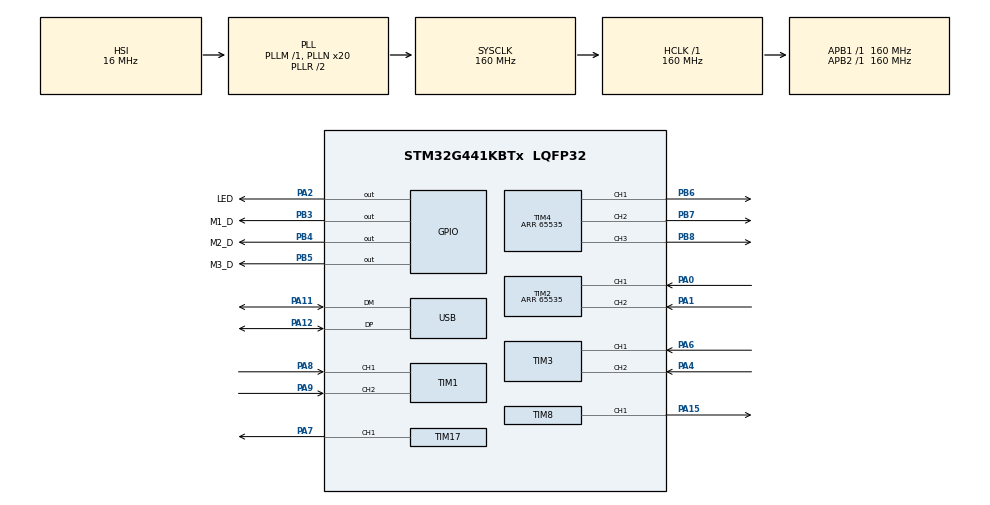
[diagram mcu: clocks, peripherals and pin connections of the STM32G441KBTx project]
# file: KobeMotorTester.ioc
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Dma.DMA_GENERATOR0.0.Direction=DMA_MEMORY_TO_PERIPH
Dma.DMA_GENERATOR0.0.EventEnable=DISABLE
Dma.DMA_GENERATOR0.0.Instance=DMA1_Channel1
Dma.DMA_GENERATOR0.0.MemDataAlignment=DMA_MDATAALIGN_WORD
Dma.DMA_GENERATOR0.0.MemInc=DMA_MINC_ENABLE
Dma.DMA_GENERATOR0.0.Mode=DMA_NORMAL
Dma.DMA_GENERATOR0.0.PeriphDataAlignment=DMA_PDATAALIGN_WORD
Dma.DMA_GENERATOR0.0.PeriphInc=DMA_PINC_DISABLE
Dma.DMA_GENERATOR0.0.Polarity=HAL_DMAMUX_REQ_GEN_RISING
Dma.DMA_GENERATOR0.0.Priority=DMA_PRIORITY_HIGH
Dma.DMA_GENERATOR0.0.RequestNumber=1
Dma.DMA_GENERATOR0.0.SignalID=NONE
Dma.DMA_GENERATOR0.0.SyncEnable=DISABLE
Dma.DMA_GENERATOR0.0.SyncPolarity=HAL_DMAMUX_SYNC_NO_EVENT
Dma.DMA_GENERATOR0.0.SyncRequestNumber=1
Dma.DMA_GENERATOR0.0.SyncSignalID=NONE
Dma.Request0=DMA_GENERATOR0
Mcu.Family=STM32G4
Mcu.Name=STM32G441KBTx
Mcu.Package=LQFP32
NVIC.PriorityGroup=NVIC_PRIORITYGROUP_4
NVIC.TIM4_IRQn=true\:0\:0\:false\:false\:true\:true\:true
NVIC.TIM6_DAC_IRQn=true\:0\:0\:false\:false\:true\:true\:true
NVIC.USB_LP_IRQn=true\:0\:0\:false\:false\:true\:false\:true
PA0.Signal=S_TIM2_CH1
PA1.Signal=S_TIM2_CH2
PA11.Mode=Device
PA11.Signal=USB_DM
PA12.Mode=Device
PA12.Signal=USB_DP
PA13.Mode=Serial_Wire
PA13.Signal=SYS_JTMS-SWDIO
PA14.Mode=Serial_Wire
PA14.Signal=SYS_JTCK-SWCLK
PA15.Signal=S_TIM8_CH1
PA2.GPIO_Label=LED
PA2.Signal=GPIO_Output
PA4.Signal=S_TIM3_CH2
PA6.Signal=S_TIM3_CH1
PA7.Signal=S_TIM17_CH1
PA8.Signal=S_TIM1_CH1
PA9.Signal=S_TIM1_CH2
PB3.GPIO_Label=M1_D
PB3.Signal=GPIO_Output
PB4.GPIO_Label=M2_D
PB4.Signal=GPIO_Output
PB5.GPIO_Label=M3_D
PB5.Signal=GPIO_Output
PB6.Signal=S_TIM4_CH1
PB7.Signal=S_TIM4_CH2
PB8-BOOT0.Signal=S_TIM4_CH3
ProjectManager.HeapSize=0x200
ProjectManager.StackSize=0x400
ProjectManager.TargetToolchain=STM32CubeIDE
RCC.ADC12Freq_Value=160000000
RCC.AHBFreq_Value=160000000
RCC.APB1Freq_Value=160000000
RCC.APB1TimFreq_Value=160000000
RCC.APB2Freq_Value=160000000
RCC.APB2TimFreq_Value=160000000
RCC.CK48CLockSelection=RCC_USBCLKSOURCE_HSI48
RCC.CortexFreq_Value=160000000
RCC.EXTERNAL_CLOCK_VALUE=12288000
RCC.HCLKFreq_Value=160000000
RCC.HSE_VALUE=8000000
RCC.HSI48_VALUE=48000000
RCC.HSI_VALUE=16000000
RCC.LSE_VALUE=32768
RCC.PLLN=20
RCC.PLLQ=RCC_PLLQ_DIV4
RCC.SYSCLKFreq_VALUE=160000000
RCC.SYSCLKSource=RCC_SYSCLKSOURCE_PLLCLK
RCC.USBFreq_Value=48000000
RCC.VCOOutputFreq_Value=320000000
SH.S_TIM17_CH1.0=TIM17_CH1,PWM Generation1 CH1
SH.S_TIM1_CH1.0=TIM1_CH1,Encoder_Interface
SH.S_TIM1_CH2.0=TIM1_CH2,Encoder_Interface
SH.S_TIM2_CH1.0=TIM2_CH1,Encoder_Interface
SH.S_TIM2_CH2.0=TIM2_CH2,Encoder_Interface
SH.S_TIM3_CH1.0=TIM3_CH1,Encoder_Interface
SH.S_TIM3_CH2.0=TIM3_CH2,Encoder_Interface
SH.S_TIM4_CH1.0=TIM4_CH1,PWM Generation1 CH1
SH.S_TIM4_CH2.0=TIM4_CH2,PWM Generation2 CH2
SH.S_TIM4_CH3.0=TIM4_CH3,PWM Generation3 CH3
SH.S_TIM8_CH1.0=TIM8_CH1,PWM Generation1 CH1
TIM1.EncoderMode=TIM_ENCODERMODE_TI12
TIM17.Channel=TIM_CHANNEL_1
TIM2.EncoderMode=TIM_ENCODERMODE_TI12
TIM2.PeriodNoDither=65535
TIM3.EncoderMode=TIM_ENCODERMODE_TI12
TIM4.AutoReloadPreload=TIM_AUTORELOAD_PRELOAD_DISABLE
TIM4.Channel-PWM\ Generation1\ CH1=TIM_CHANNEL_1
TIM4.Channel-PWM\ Generation2\ CH2=TIM_CHANNEL_2
TIM4.Channel-PWM\ Generation3\ CH3=TIM_CHANNEL_3
TIM4.PeriodNoDither=65535
TIM6.PeriodNoDither=999
TIM6.Prescaler=1599
TIM8.Channel-PWM\ Generation1\ CH1=TIM_CHANNEL_1
TIM8.PeriodNoDither=39999
TIM8.Prescaler=79
USB_DEVICE.CLASS_NAME_FS=CDC
USB_DEVICE.VirtualMode=Cdc
USB_DEVICE.VirtualModeFS=Cdc_FS
VP_SYS_VS_DBSignals.Mode=DisableDeadBatterySignals
VP_TIM17_VS_ClockSourceINT.Mode=Enable_Timer
VP_TIM6_VS_ClockSourceINT.Mode=Enable_Timer
VP_USB_DEVICE_VS_USB_DEVICE_CDC_FS.Mode=CDC_FS
board=custom

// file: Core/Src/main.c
/* USER CODE BEGIN Header */
/**
  ******************************************************************************
  * @file           : main.c
  * @brief          : Main program body
  ******************************************************************************
  * @attention
  *
  * <h2><center>&copy; Copyright (c) 2021 STMicroelectronics.
  * All rights reserved.</center></h2>
  *
  * This software component is licensed by ST under BSD 3-Clause license,
  * the "License"; You may not use this file except in compliance with the
  * License. You may obtain a copy of the License at:
  *                        opensource.org/licenses/BSD-3-Clause
  *
  ******************************************************************************
  */
/* USER CODE END Header */
#include "main.h"
#include "usb_device.h"

/* USER CODE BEGIN Includes */

#include "usbd_cdc_if.h"

/* USER CODE END Includes */

TIM_HandleTypeDef htim1;
TIM_HandleTypeDef htim2;
TIM_HandleTypeDef htim3;
TIM_HandleTypeDef htim4;
TIM_HandleTypeDef htim6;
TIM_HandleTypeDef htim8;
TIM_HandleTypeDef htim17;

DMA_HandleTypeDef hdma_dma_generator0;

void SystemClock_Config(void);
static void MX_GPIO_Init(void);
static void MX_DMA_Init(void);
static void MX_TIM2_Init(void);
static void MX_TIM3_Init(void);
static void MX_TIM1_Init(void);
static void MX_TIM4_Init(void);
static void MX_TIM8_Init(void);
static void MX_TIM6_Init(void);
static void MX_TIM17_Init(void);

/* USER CODE BEGIN 0 */

typedef struct Command { // (1)
  int16_t speed1;
  int16_t speed2;
  int16_t speed3;
  uint16_t throwerSpeed;
  uint16_t delimiter; // (2)
} Command;

typedef struct Feedback { // (3)
  int16_t speed1;
  int16_t speed2;
  int16_t speed3;
  uint16_t delimiter;
} Feedback;

typedef struct Encoder { // (3)
  int16_t speed1;
  int16_t speed2;
  int16_t speed3;
  uint16_t m1_pwm;
  uint16_t m2_pwm;
  uint16_t delimiter;
} Encoder;

typedef struct MotorControl {
	int16_t speed;
	int16_t position;
	int32_t integraal;
	int16_t p_gain;
	int16_t i_gain;
	int32_t newspeed;
	int16_t positionChange;
} MotorControl;

MotorControl motor1Control = {
	  .speed = 0,
	  .position = 0,
	  .integraal = 0,
	  .p_gain = 3000,
	  .i_gain = 675,
	  .newspeed = 0,
	  .positionChange = 0
};

MotorControl motor2Control = {
	  .speed = 0,
	  .position = 0,
	  .integraal = 0,
	  .p_gain = 3000,
	  .i_gain = 675,
	  .newspeed = 0,
	  .positionChange = 0
};

MotorControl motor3Control = {
	  .speed = 0,
	  .position = 0,
	  .integraal = 0,
	  .p_gain = 3000,
	  .i_gain = 675,
	  .newspeed = 0,
	  .positionChange = 0
};

Command command = {.speed1 = 0, .speed2 = 0, .speed3 = 0, .throwerSpeed = 0, .delimiter = 0}; // (4)
volatile uint8_t isCommandReceived = 0; // (5)
volatile uint8_t sendData = 0;
uint16_t timer = 0;
uint16_t enable_pid = 0;
Feedback feedback = { // (1)
	      .speed1 = 0,
	      .speed2 = 0,
	      .speed3 = 0,
	      .delimiter = 0xAAAA
	  };;
Encoder encoder = {
		.speed1 = 0,
		.speed2 = 0,
		.speed3 = 0,
		.delimiter = 0xAAAA

};

int32_t clamp(int32_t value, int32_t minValue, int32_t maxValue) {
	if (value > maxValue) {
		return maxValue;
	}

	if (value < minValue) {
		return minValue;
	}

	return value;
}

void CDC_On_Receive(uint8_t* buffer, uint32_t* length) { // (6)
  if (*length == sizeof(Command)) { // (7)
    memcpy(&command, buffer, sizeof(Command)); // (8)

    if (command.delimiter == 0xAAAA) { // (9)
      isCommandReceived = 1;
    }
    if (command.delimiter == 0xBBBB) { // (9)
          sendData = 1;
        }
  }
}

int32_t PIDcontrol(MotorControl* control, int16_t position){
	control->positionChange = position - control->position; //Lahutab vana positsiooni, et saada kiiruse
	control->position = position; //Salvestab asendi struktuuri
	int32_t error = control->speed -control->positionChange; //Kui suur on erinevus kiiruste vahel
	control->integraal += error;

	return control->p_gain * error + control->i_gain * control->integraal;
}

void HAL_TIM_PeriodElapsedCallback(TIM_HandleTypeDef *htim6) {
  // Motor control calculations can be called from here
	if (enable_pid == 1){

		int16_t position;

		/*int16_t position = (int16_t)TIM1->CNT;//Uus positsioon
		int16_t new_speed = PIDcontrol(&motor1Control, position);

		if (new_speed < 0){
				motor1Control.newspeed = -new_speed;
				HAL_GPIO_WritePin(M1_D_GPIO_Port, M1_D_Pin, 0);
			}
			else{
				motor1Control.newspeed = new_speed;
				HAL_GPIO_WritePin(M1_D_GPIO_Port, M1_D_Pin, 1);
			}

		TIM4->CCR1 = motor1Control.newspeed;*/
		position = (int16_t)TIM1->CNT;
		int32_t pwmValue = PIDcontrol(&motor1Control, position);
		HAL_GPIO_WritePin(M1_D_GPIO_Port, M1_D_Pin, (pwmValue < 0) ? GPIO_PIN_SET : GPIO_PIN_RESET);
		TIM4->CCR1 = (uint16_t)clamp((pwmValue < 0) ? -pwmValue : pwmValue, 0, 65535);
		//HAL_GPIO_WritePin(M1_D_GPIO_Port, M1_D_Pin, GPIO_PIN_SET);
		//TIM4->CCR1 = TIM4->CCR1 > 65500 ? 0 : TIM4->CCR1 + 100;

		encoder.m1_pwm = (uint16_t)clamp((pwmValue < 0) ? -pwmValue : pwmValue, 0, 65535);

		position = (int16_t)TIM2->CNT;
		pwmValue = PIDcontrol(&motor2Control, position);
		HAL_GPIO_WritePin(M2_D_GPIO_Port, M2_D_Pin, (pwmValue < 0) ? GPIO_PIN_SET : GPIO_PIN_RESET);
		TIM4->CCR2 = (uint16_t)clamp((pwmValue < 0) ? -pwmValue : pwmValue, 0, 65535);

		encoder.m2_pwm = (uint16_t)clamp((pwmValue < 0) ? -pwmValue : pwmValue, 0, 65535);
		position = (int16_t)TIM3->CNT;
		pwmValue = PIDcontrol(&motor3Control, position);
		HAL_GPIO_WritePin(M3_D_GPIO_Port, M3_D_Pin, (pwmValue < 0) ? GPIO_PIN_SET : GPIO_PIN_RESET);
		TIM4->CCR3 = (uint16_t)clamp((pwmValue < 0) ? -pwmValue : pwmValue, 0, 65535);

		//feedback.speed2 = motor2Control.positionChange;

		//CDC_Transmit_FS(&feedback, sizeof(feedback));
		//HAL_GPIO_TogglePin(LED_GPIO_Port, LED_Pin); // (3)
		/*position = (int16_t)TIM3->CNT;
		new_speed = PIDcontrol(&motor3Control, position);

		if (new_speed < 0){
						motor3Control.newspeed = -new_speed;
						HAL_GPIO_WritePin(M2_D_GPIO_Port, M2_D_Pin, 0);
					}
					else{
						motor3Control.newspeed = new_speed;
						HAL_GPIO_WritePin(M3_D_GPIO_Port, M3_D_Pin, 1);
					}

		TIM4->CCR3 = motor3Control.newspeed;*/

		timer+=1;
		if (timer == 50){
			timer = 0;
			enable_pid = 0;

			motor1Control.speed = 0;
			motor2Control.speed = 0;
			motor3Control.speed = 0;
			TIM8->CCR1 = 1800;

			/*encoder.speed1 = motor1Control.positionChange;
			encoder.speed2 = motor2Control.positionChange;
			encoder.speed3 = motor3Control.positionChange;
			//encoder.m1_pwm = motor1Control.

			CDC_Transmit_FS(&encoder, sizeof(encoder));*/

			//CDC_Transmit_FS(&pwmValue, 4);
			/*
			TIM4->CCR1 = motor1Control.speed;
			TIM4->CCR2 = motor2Control.speed;
			TIM4->CCR3 = motor3Control.speed;
			TIM8->CCR1 = 1800;
			timer=0;*/

		}

	}

}

/*

/* USER CODE END 0 */

int main(void)
{

  /* MCU Configuration--------------------------------------------------------*/

  /* Reset of all peripherals, Initializes the Flash interface and the Systick. */
  HAL_Init();

  /* Configure the system clock */
  SystemClock_Config();

  /* Initialize all configured peripherals */
  MX_GPIO_Init();
  MX_DMA_Init();
  MX_TIM2_Init();
  MX_TIM3_Init();
  MX_TIM1_Init();
  MX_TIM4_Init();
  MX_TIM8_Init();
  MX_TIM6_Init();
  MX_USB_Device_Init();
  MX_TIM17_Init();
  /* USER CODE BEGIN 2 */

  //HAL_GPIO_WritePin(DRIVER_GPIO_Port, DRIVER_Pin, 1);
  //HAL_GPIO_WritePin(DRIVER_GPIO_Port, DRIVER_Pin, 0);
  //HAL_GPIO_WritePin(DRIVER_GPIO_Port, DRIVER_Pin, 1);
  //HAL_GPIO_WritePin(DRIVER_GPIO_Port, DRIVER_Pin, 0);
  //HAL_GPIO_WritePin(DRIVER_GPIO_Port, DRIVER_Pin, 1);

  HAL_TIM_PWM_Start(&htim17, TIM_CHANNEL_1);
  HAL_TIM_Encoder_Start(&htim1, TIM_CHANNEL_1 | TIM_CHANNEL_2);
  HAL_TIM_Encoder_Start(&htim2, TIM_CHANNEL_1 | TIM_CHANNEL_2);
  HAL_TIM_Encoder_Start(&htim3, TIM_CHANNEL_1 | TIM_CHANNEL_2);
  HAL_TIM_PWM_Start(&htim4, TIM_CHANNEL_1);
  HAL_TIM_PWM_Start(&htim4, TIM_CHANNEL_2);
  HAL_TIM_PWM_Start(&htim4, TIM_CHANNEL_3);
  HAL_TIM_PWM_Start(&htim8, TIM_CHANNEL_1);

  TIM17->CCR1 = 65535;
  HAL_Delay(100);
  TIM17->CCR1 = 61750;
  HAL_Delay(100);
  TIM17->CCR1 = 65535;
  TIM1->CCR1 = 0;
  TIM1->CCR2 = 0;
  TIM1->CCR3 = 0;
  TIM8->CCR1 = 1800;
  //TIM4->CCR2 = 20000;
  //TIM4->CCR1 = 10000;
  //TIM4->CCR2 = 10000;
  //TIM4->CCR3 = 9000;

  HAL_TIM_Base_Start_IT(&htim6);

  /* USER CODE END 2 */

  /* Infinite loop */
  while (1)
  {

    /* USER CODE BEGIN 3 */

	  /*HAL_Delay(1000);
	  TIM4->CCR1 = 1000;
	  TIM4->CCR2 = 900;
	  TIM4->CCR3 = 900;
	  HAL_Delay(1000);
	  TIM4->CCR1 = 5000;
	  TIM4->CCR2 = 5000;
	  TIM4->CCR3 = 5000;
	  HAL_GPIO_TogglePin(LED_GPIO_Port, LED_Pin);*/

	  if (sendData) {
		  sendData = 0;
		  TIM17->CCR1 = 61750;
		  HAL_Delay(100);
	   	  TIM17->CCR1 = 65535;

	  }

	  if (isCommandReceived) { // (2)
	        isCommandReceived = 0;
	        HAL_GPIO_TogglePin(LED_GPIO_Port, LED_Pin); // (3)
	        motor1Control.speed = command.speed1;
	        motor2Control.speed = command.speed2;
	        motor3Control.speed = command.speed3;

	        /*if (motor1Control.speed < 0){
					HAL_GPIO_WritePin(M1_D_GPIO_Port, M1_D_Pin, 0);
					TIM4->CCR1 = - motor1Control.speed;
				}
				else{
					TIM4->CCR1 = motor1Control.speed;
					HAL_GPIO_WritePin(M1_D_GPIO_Port, M1_D_Pin, 1);
				}

	        if (motor2Control.speed < 0){
					HAL_GPIO_WritePin(M2_D_GPIO_Port, M2_D_Pin, 1);
					TIM4->CCR2 = - motor2Control.speed;
				}
				else{
					TIM4->CCR2 = motor2Control.speed;
					HAL_GPIO_WritePin(M2_D_GPIO_Port, M2_D_Pin, 0);
				}

	        if (motor3Control.speed < 0){
					HAL_GPIO_WritePin(M3_D_GPIO_Port, M3_D_Pin, 0);
					TIM4->CCR3 = - motor3Control.speed;
				}
				else{
					TIM4->CCR3 = motor3Control.speed;
					HAL_GPIO_WritePin(M3_D_GPIO_Port, M3_D_Pin, 1);
				}*/

	        if (command.throwerSpeed<1800 || command.throwerSpeed>3999){
	        	TIM8->CCR1 = 1800;
	        }
	        else{
	        	TIM8->CCR1 = command.throwerSpeed;
	        }

  	        timer = 0;
  	        enable_pid = 1;

	        feedback.speed1 = motor1Control.speed; // (4)
	        feedback.speed2 = motor2Control.speed;
	        feedback.speed3 = motor3Control.speed;

	        CDC_Transmit_FS(&feedback, sizeof(feedback)); // (5)
	      }
	    }

  /* USER CODE END 3 */
}

void SystemClock_Config(void)
{
  RCC_OscInitTypeDef RCC_OscInitStruct = {0};
  RCC_ClkInitTypeDef RCC_ClkInitStruct = {0};
  RCC_PeriphCLKInitTypeDef PeriphClkInit = {0};

  /** Configure the main internal regulator output voltage
  */
  HAL_PWREx_ControlVoltageScaling(PWR_REGULATOR_VOLTAGE_SCALE1_BOOST);
  /** Initializes the RCC Oscillators according to the specified parameters
  * in the RCC_OscInitTypeDef structure.
  */
  RCC_OscInitStruct.OscillatorType = RCC_OSCILLATORTYPE_HSI|RCC_OSCILLATORTYPE_HSI48;
  RCC_OscInitStruct.HSIState = RCC_HSI_ON;
  RCC_OscInitStruct.HSICalibrationValue = RCC_HSICALIBRATION_DEFAULT;
  RCC_OscInitStruct.HSI48State = RCC_HSI48_ON;
  RCC_OscInitStruct.PLL.PLLState = RCC_PLL_ON;
  RCC_OscInitStruct.PLL.PLLSource = RCC_PLLSOURCE_HSI;
  RCC_OscInitStruct.PLL.PLLM = RCC_PLLM_DIV1;
  RCC_OscInitStruct.PLL.PLLN = 20;
  RCC_OscInitStruct.PLL.PLLP = RCC_PLLP_DIV2;
  RCC_OscInitStruct.PLL.PLLQ = RCC_PLLQ_DIV4;
  RCC_OscInitStruct.PLL.PLLR = RCC_PLLR_DIV2;
  if (HAL_RCC_OscConfig(&RCC_OscInitStruct) != HAL_OK)
  {
    Error_Handler();
  }
  /** Initializes the CPU, AHB and APB buses clocks
  */
  RCC_ClkInitStruct.ClockType = RCC_CLOCKTYPE_HCLK|RCC_CLOCKTYPE_SYSCLK
                              |RCC_CLOCKTYPE_PCLK1|RCC_CLOCKTYPE_PCLK2;
  RCC_ClkInitStruct.SYSCLKSource = RCC_SYSCLKSOURCE_PLLCLK;
  RCC_ClkInitStruct.AHBCLKDivider = RCC_SYSCLK_DIV1;
  RCC_ClkInitStruct.APB1CLKDivider = RCC_HCLK_DIV1;
  RCC_ClkInitStruct.APB2CLKDivider = RCC_HCLK_DIV1;

  if (HAL_RCC_ClockConfig(&RCC_ClkInitStruct, FLASH_LATENCY_4) != HAL_OK)
  {
    Error_Handler();
  }
  /** Initializes the peripherals clocks
  */
  PeriphClkInit.PeriphClockSelection = RCC_PERIPHCLK_USB;
  PeriphClkInit.UsbClockSelection = RCC_USBCLKSOURCE_HSI48;
  if (HAL_RCCEx_PeriphCLKConfig(&PeriphClkInit) != HAL_OK)
  {
    Error_Handler();
  }
}

static void MX_TIM1_Init(void)
{

  TIM_Encoder_InitTypeDef sConfig = {0};
  TIM_MasterConfigTypeDef sMasterConfig = {0};

  htim1.Instance = TIM1;
  htim1.Init.Prescaler = 0;
  htim1.Init.CounterMode = TIM_COUNTERMODE_UP;
  htim1.Init.Period = 65535;
  htim1.Init.ClockDivision = TIM_CLOCKDIVISION_DIV1;
  htim1.Init.RepetitionCounter = 0;
  htim1.Init.AutoReloadPreload = TIM_AUTORELOAD_PRELOAD_DISABLE;
  sConfig.EncoderMode = TIM_ENCODERMODE_TI12;
  sConfig.IC1Polarity = TIM_ICPOLARITY_RISING;
  sConfig.IC1Selection = TIM_ICSELECTION_DIRECTTI;
  sConfig.IC1Prescaler = TIM_ICPSC_DIV1;
  sConfig.IC1Filter = 0;
  sConfig.IC2Polarity = TIM_ICPOLARITY_RISING;
  sConfig.IC2Selection = TIM_ICSELECTION_DIRECTTI;
  sConfig.IC2Prescaler = TIM_ICPSC_DIV1;
  sConfig.IC2Filter = 0;
  if (HAL_TIM_Encoder_Init(&htim1, &sConfig) != HAL_OK)
  {
    Error_Handler();
  }
  sMasterConfig.MasterOutputTrigger = TIM_TRGO_RESET;
  sMasterConfig.MasterOutputTrigger2 = TIM_TRGO2_RESET;
  sMasterConfig.MasterSlaveMode = TIM_MASTERSLAVEMODE_DISABLE;
  if (HAL_TIMEx_MasterConfigSynchronization(&htim1, &sMasterConfig) != HAL_OK)
  {
    Error_Handler();
  }

}

static void MX_TIM2_Init(void)
{

  TIM_Encoder_InitTypeDef sConfig = {0};
  TIM_MasterConfigTypeDef sMasterConfig = {0};

  htim2.Instance = TIM2;
  htim2.Init.Prescaler = 0;
  htim2.Init.CounterMode = TIM_COUNTERMODE_UP;
  htim2.Init.Period = 65535;
  htim2.Init.ClockDivision = TIM_CLOCKDIVISION_DIV1;
  htim2.Init.AutoReloadPreload = TIM_AUTORELOAD_PRELOAD_DISABLE;
  sConfig.EncoderMode = TIM_ENCODERMODE_TI12;
  sConfig.IC1Polarity = TIM_ICPOLARITY_RISING;
  sConfig.IC1Selection = TIM_ICSELECTION_DIRECTTI;
  sConfig.IC1Prescaler = TIM_ICPSC_DIV1;
  sConfig.IC1Filter = 0;
  sConfig.IC2Polarity = TIM_ICPOLARITY_RISING;
  sConfig.IC2Selection = TIM_ICSELECTION_DIRECTTI;
  sConfig.IC2Prescaler = TIM_ICPSC_DIV1;
  sConfig.IC2Filter = 0;
  if (HAL_TIM_Encoder_Init(&htim2, &sConfig) != HAL_OK)
  {
    Error_Handler();
  }
  sMasterConfig.MasterOutputTrigger = TIM_TRGO_RESET;
  sMasterConfig.MasterSlaveMode = TIM_MASTERSLAVEMODE_DISABLE;
  if (HAL_TIMEx_MasterConfigSynchronization(&htim2, &sMasterConfig) != HAL_OK)
  {
    Error_Handler();
  }

}

static void MX_TIM3_Init(void)
{

  TIM_Encoder_InitTypeDef sConfig = {0};
  TIM_MasterConfigTypeDef sMasterConfig = {0};

  htim3.Instance = TIM3;
  htim3.Init.Prescaler = 0;
  htim3.Init.CounterMode = TIM_COUNTERMODE_UP;
  htim3.Init.Period = 65535;
  htim3.Init.ClockDivision = TIM_CLOCKDIVISION_DIV1;
  htim3.Init.AutoReloadPreload = TIM_AUTORELOAD_PRELOAD_DISABLE;
  sConfig.EncoderMode = TIM_ENCODERMODE_TI12;
  sConfig.IC1Polarity = TIM_ICPOLARITY_RISING;
  sConfig.IC1Selection = TIM_ICSELECTION_DIRECTTI;
  sConfig.IC1Prescaler = TIM_ICPSC_DIV1;
  sConfig.IC1Filter = 0;
  sConfig.IC2Polarity = TIM_ICPOLARITY_RISING;
  sConfig.IC2Selection = TIM_ICSELECTION_DIRECTTI;
  sConfig.IC2Prescaler = TIM_ICPSC_DIV1;
  sConfig.IC2Filter = 0;
  if (HAL_TIM_Encoder_Init(&htim3, &sConfig) != HAL_OK)
  {
    Error_Handler();
  }
  sMasterConfig.MasterOutputTrigger = TIM_TRGO_RESET;
  sMasterConfig.MasterSlaveMode = TIM_MASTERSLAVEMODE_DISABLE;
  if (HAL_TIMEx_MasterConfigSynchronization(&htim3, &sMasterConfig) != HAL_OK)
  {
    Error_Handler();
  }

}

static void MX_TIM4_Init(void)
{

  TIM_MasterConfigTypeDef sMasterConfig = {0};
  TIM_OC_InitTypeDef sConfigOC = {0};

  htim4.Instance = TIM4;
  htim4.Init.Prescaler = 0;
  htim4.Init.CounterMode = TIM_COUNTERMODE_UP;
  htim4.Init.Period = 65535;
  htim4.Init.ClockDivision = TIM_CLOCKDIVISION_DIV1;
  htim4.Init.AutoReloadPreload = TIM_AUTORELOAD_PRELOAD_DISABLE;
  if (HAL_TIM_PWM_Init(&htim4) != HAL_OK)
  {
    Error_Handler();
  }
  sMasterConfig.MasterOutputTrigger = TIM_TRGO_RESET;
  sMasterConfig.MasterSlaveMode = TIM_MASTERSLAVEMODE_DISABLE;
  if (HAL_TIMEx_MasterConfigSynchronization(&htim4, &sMasterConfig) != HAL_OK)
  {
    Error_Handler();
  }
  sConfigOC.OCMode = TIM_OCMODE_PWM1;
  sConfigOC.Pulse = 0;
  sConfigOC.OCPolarity = TIM_OCPOLARITY_HIGH;
  sConfigOC.OCFastMode = TIM_OCFAST_DISABLE;
  if (HAL_TIM_PWM_ConfigChannel(&htim4, &sConfigOC, TIM_CHANNEL_1) != HAL_OK)
  {
    Error_Handler();
  }
  if (HAL_TIM_PWM_ConfigChannel(&htim4, &sConfigOC, TIM_CHANNEL_2) != HAL_OK)
  {
    Error_Handler();
  }
  if (HAL_TIM_PWM_ConfigChannel(&htim4, &sConfigOC, TIM_CHANNEL_3) != HAL_OK)
  {
    Error_Handler();
  }
  HAL_TIM_MspPostInit(&htim4);

}

static void MX_TIM6_Init(void)
{

  TIM_MasterConfigTypeDef sMasterConfig = {0};

  htim6.Instance = TIM6;
  htim6.Init.Prescaler = 1599;
  htim6.Init.CounterMode = TIM_COUNTERMODE_UP;
  htim6.Init.Period = 999;
  htim6.Init.AutoReloadPreload = TIM_AUTORELOAD_PRELOAD_DISABLE;
  if (HAL_TIM_Base_Init(&htim6) != HAL_OK)
  {
    Error_Handler();
  }
  sMasterConfig.MasterOutputTrigger = TIM_TRGO_RESET;
  sMasterConfig.MasterSlaveMode = TIM_MASTERSLAVEMODE_DISABLE;
  if (HAL_TIMEx_MasterConfigSynchronization(&htim6, &sMasterConfig) != HAL_OK)
  {
    Error_Handler();
  }

}

static void MX_TIM8_Init(void)
{

  TIM_MasterConfigTypeDef sMasterConfig = {0};
  TIM_OC_InitTypeDef sConfigOC = {0};
  TIM_BreakDeadTimeConfigTypeDef sBreakDeadTimeConfig = {0};

  htim8.Instance = TIM8;
  htim8.Init.Prescaler = 79;
  htim8.Init.CounterMode = TIM_COUNTERMODE_UP;
  htim8.Init.Period = 39999;
  htim8.Init.ClockDivision = TIM_CLOCKDIVISION_DIV1;
  htim8.Init.RepetitionCounter = 0;
  htim8.Init.AutoReloadPreload = TIM_AUTORELOAD_PRELOAD_DISABLE;
  if (HAL_TIM_PWM_Init(&htim8) != HAL_OK)
  {
    Error_Handler();
  }
  sMasterConfig.MasterOutputTrigger = TIM_TRGO_RESET;
  sMasterConfig.MasterOutputTrigger2 = TIM_TRGO2_RESET;
  sMasterConfig.MasterSlaveMode = TIM_MASTERSLAVEMODE_DISABLE;
  if (HAL_TIMEx_MasterConfigSynchronization(&htim8, &sMasterConfig) != HAL_OK)
  {
    Error_Handler();
  }
  sConfigOC.OCMode = TIM_OCMODE_PWM1;
  sConfigOC.Pulse = 0;
  sConfigOC.OCPolarity = TIM_OCPOLARITY_HIGH;
  sConfigOC.OCNPolarity = TIM_OCNPOLARITY_HIGH;
  sConfigOC.OCFastMode = TIM_OCFAST_DISABLE;
  sConfigOC.OCIdleState = TIM_OCIDLESTATE_RESET;
  sConfigOC.OCNIdleState = TIM_OCNIDLESTATE_RESET;
  if (HAL_TIM_PWM_ConfigChannel(&htim8, &sConfigOC, TIM_CHANNEL_1) != HAL_OK)
  {
    Error_Handler();
  }
  sBreakDeadTimeConfig.OffStateRunMode = TIM_OSSR_DISABLE;
  sBreakDeadTimeConfig.OffStateIDLEMode = TIM_OSSI_DISABLE;
  sBreakDeadTimeConfig.LockLevel = TIM_LOCKLEVEL_OFF;
  sBreakDeadTimeConfig.DeadTime = 0;
  sBreakDeadTimeConfig.BreakState = TIM_BREAK_DISABLE;
  sBreakDeadTimeConfig.BreakPolarity = TIM_BREAKPOLARITY_HIGH;
  sBreakDeadTimeConfig.BreakFilter = 0;
  sBreakDeadTimeConfig.BreakAFMode = TIM_BREAK_AFMODE_INPUT;
  sBreakDeadTimeConfig.Break2State = TIM_BREAK2_DISABLE;
  sBreakDeadTimeConfig.Break2Polarity = TIM_BREAK2POLARITY_HIGH;
  sBreakDeadTimeConfig.Break2Filter = 0;
  sBreakDeadTimeConfig.Break2AFMode = TIM_BREAK_AFMODE_INPUT;
  sBreakDeadTimeConfig.AutomaticOutput = TIM_AUTOMATICOUTPUT_DISABLE;
  if (HAL_TIMEx_ConfigBreakDeadTime(&htim8, &sBreakDeadTimeConfig) != HAL_OK)
  {
    Error_Handler();
  }
  HAL_TIM_MspPostInit(&htim8);

}

static void MX_TIM17_Init(void)
{

  TIM_OC_InitTypeDef sConfigOC = {0};
  TIM_BreakDeadTimeConfigTypeDef sBreakDeadTimeConfig = {0};

  htim17.Instance = TIM17;
  htim17.Init.Prescaler = 0;
  htim17.Init.CounterMode = TIM_COUNTERMODE_UP;
  htim17.Init.Period = 65535;
  htim17.Init.ClockDivision = TIM_CLOCKDIVISION_DIV1;
  htim17.Init.RepetitionCounter = 0;
  htim17.Init.AutoReloadPreload = TIM_AUTORELOAD_PRELOAD_DISABLE;
  if (HAL_TIM_Base_Init(&htim17) != HAL_OK)
  {
    Error_Handler();
  }
  if (HAL_TIM_PWM_Init(&htim17) != HAL_OK)
  {
    Error_Handler();
  }
  sConfigOC.OCMode = TIM_OCMODE_PWM1;
  sConfigOC.Pulse = 0;
  sConfigOC.OCPolarity = TIM_OCPOLARITY_HIGH;
  sConfigOC.OCNPolarity = TIM_OCNPOLARITY_HIGH;
  sConfigOC.OCFastMode = TIM_OCFAST_DISABLE;
  sConfigOC.OCIdleState = TIM_OCIDLESTATE_RESET;
  sConfigOC.OCNIdleState = TIM_OCNIDLESTATE_RESET;
  if (HAL_TIM_PWM_ConfigChannel(&htim17, &sConfigOC, TIM_CHANNEL_1) != HAL_OK)
  {
    Error_Handler();
  }
  sBreakDeadTimeConfig.OffStateRunMode = TIM_OSSR_DISABLE;
  sBreakDeadTimeConfig.OffStateIDLEMode = TIM_OSSI_DISABLE;
  sBreakDeadTimeConfig.LockLevel = TIM_LOCKLEVEL_OFF;
  sBreakDeadTimeConfig.DeadTime = 0;
  sBreakDeadTimeConfig.BreakState = TIM_BREAK_DISABLE;
  sBreakDeadTimeConfig.BreakPolarity = TIM_BREAKPOLARITY_HIGH;
  sBreakDeadTimeConfig.BreakFilter = 0;
  sBreakDeadTimeConfig.AutomaticOutput = TIM_AUTOMATICOUTPUT_DISABLE;
  if (HAL_TIMEx_ConfigBreakDeadTime(&htim17, &sBreakDeadTimeConfig) != HAL_OK)
  {
    Error_Handler();
  }
  HAL_TIM_MspPostInit(&htim17);

}

static void MX_DMA_Init(void)
{

  /* DMA controller clock enable */
  __HAL_RCC_DMAMUX1_CLK_ENABLE();
  __HAL_RCC_DMA1_CLK_ENABLE();

  /* Configure DMA request hdma_dma_generator0 on DMA1_Channel1 */
  hdma_dma_generator0.Instance = DMA1_Channel1;
  hdma_dma_generator0.Init.Request = DMA_REQUEST_GENERATOR0;
  hdma_dma_generator0.Init.Direction = DMA_MEMORY_TO_PERIPH;
  hdma_dma_generator0.Init.PeriphInc = DMA_PINC_DISABLE;
  hdma_dma_generator0.Init.MemInc = DMA_MINC_ENABLE;
  hdma_dma_generator0.Init.PeriphDataAlignment = DMA_PDATAALIGN_WORD;
  hdma_dma_generator0.Init.MemDataAlignment = DMA_MDATAALIGN_WORD;
  hdma_dma_generator0.Init.Mode = DMA_NORMAL;
  hdma_dma_generator0.Init.Priority = DMA_PRIORITY_HIGH;
  if (HAL_DMA_Init(&hdma_dma_generator0) != HAL_OK)
  {
    Error_Handler( );
  }

}

static void MX_GPIO_Init(void)
{
  GPIO_InitTypeDef GPIO_InitStruct = {0};

  /* GPIO Ports Clock Enable */
  __HAL_RCC_GPIOA_CLK_ENABLE();
  __HAL_RCC_GPIOB_CLK_ENABLE();

  /*Configure GPIO pin Output Level */
  HAL_GPIO_WritePin(LED_GPIO_Port, LED_Pin, GPIO_PIN_RESET);

  /*Configure GPIO pin Output Level */
  HAL_GPIO_WritePin(GPIOB, M1_D_Pin|M2_D_Pin|M3_D_Pin, GPIO_PIN_RESET);

  /*Configure GPIO pin : LED_Pin */
  GPIO_InitStruct.Pin = LED_Pin;
  GPIO_InitStruct.Mode = GPIO_MODE_OUTPUT_PP;
  GPIO_InitStruct.Pull = GPIO_NOPULL;
  GPIO_InitStruct.Speed = GPIO_SPEED_FREQ_LOW;
  HAL_GPIO_Init(LED_GPIO_Port, &GPIO_InitStruct);

  /*Configure GPIO pins : M1_D_Pin M2_D_Pin M3_D_Pin */
  GPIO_InitStruct.Pin = M1_D_Pin|M2_D_Pin|M3_D_Pin;
  GPIO_InitStruct.Mode = GPIO_MODE_OUTPUT_PP;
  GPIO_InitStruct.Pull = GPIO_NOPULL;
  GPIO_InitStruct.Speed = GPIO_SPEED_FREQ_LOW;
  HAL_GPIO_Init(GPIOB, &GPIO_InitStruct);

}

void Error_Handler(void)
{
  __disable_irq();
  while (1)
  {
  }
}

/************************ (C) COPYRIGHT STMicroelectronics *****END OF FILE****/
